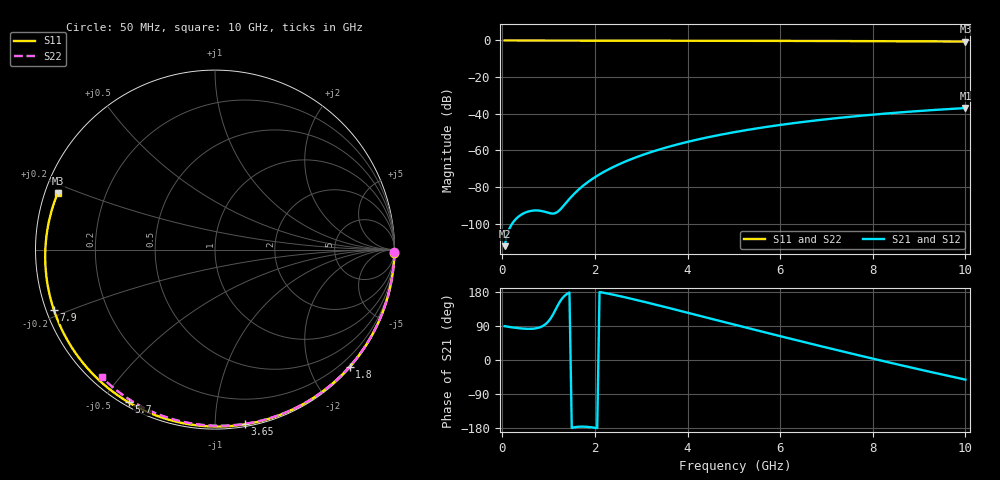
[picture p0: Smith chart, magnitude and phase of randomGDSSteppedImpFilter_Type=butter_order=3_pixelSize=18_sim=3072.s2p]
! freq	dB(S11)	phase(S11)	dB(S12)	phase(S12)
!  dB(S21)	phase(S21)	dB(S22)	phase(S22)
!S-par simulation data
#  GHz  S  DB  R 50
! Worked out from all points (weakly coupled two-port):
!   200 points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, 50 MHz to 10 GHz, reference 50 ohm
!   highest |S21| = -36.90 dB at 10 GHz (marker M1); lowest = -112.3 dB at 50 MHz (marker M2)
!   lowest |S11| = -0.6 dB at 10 GHz (marker M3), VSWR 28.10, Z = 1.83 + j8.63 ohm
!   |S11| at or under -10 dB: nowhere
!   |S22| runs from -0.4 to 0.0 dB; largest |S21 - S12| = 0
!   S11 on the Smith chart (normalised r, x): 50 MHz: 0, -98; 1.8 GHz: 0.02, -2.67; 3.65 GHz: 0.01, -1.19; 5.7 GHz: 0.02, -0.58; 7.9 GHz: 0.02, -0.18; 10 GHz: 0.04, +0.17
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0.05  -0.00 -1.2  -112.29 89.3  -112.29 89.3  -0.00 -0.8
0.45  -0.01 -10.4  -94.50 82.9  -94.50 82.9  -0.01 -6.8
0.85  -0.02 -19.6  -93.11 88.2  -93.11 88.2  -0.02 -12.8
1.25  -0.04 -28.8  -92.33 155.1  -92.33 155.1  -0.02 -18.8
1.7  -0.05 -38.8  -80.25 -175.8  -80.25 -175.8  -0.03 -25.5
1.75  -0.05 -40.0  -79.20 -175.9  -79.20 -175.9  -0.03 -26.2
1.8  -0.05 -41.1  -78.20 -176.1  -78.20 -176.1  -0.03 -27.0
2.1  -0.06 -47.7  -73.09 179.3  -73.09 179.3  -0.04 -31.4
2.5  -0.07 -56.3  -67.83 169.6  -67.83 169.6  -0.05 -37.2
2.9  -0.08 -64.8  -63.67 158.3  -63.67 158.3  -0.06 -42.9
3.4  -0.10 -75.1  -59.45 143.3  -59.45 143.3  -0.07 -49.9
3.65  -0.11 -80.2  -57.63 135.6  -57.63 135.6  -0.07 -53.4
4.35  -0.13 -94.0  -53.33 113.9  -53.33 113.9  -0.09 -63.0
5.05  -0.16 -107.4  -49.88 92.1  -49.88 92.1  -0.11 -72.3
5.7  -0.20 -119.5  -47.21 72.1  -47.21 72.1  -0.13 -80.7
6.7  -0.26 -137.7  -43.86 41.8  -43.86 41.8  -0.18 -93.1
7.3  -0.31 -148.5  -42.19 24.0  -42.19 24.0  -0.21 -100.4
7.9  -0.37 -159.4  -40.73 6.5  -40.73 6.5  -0.25 -107.5
8.35  -0.41 -167.6  -39.75 -6.4  -39.75 -6.4  -0.29 -112.7
8.8  -0.46 -176.0  -38.87 -19.1  -38.87 -19.1  -0.32 -117.9
9.2  -0.51 176.3  -38.15 -30.2  -38.15 -30.2  -0.36 -122.5
10  -0.62 160.4  -36.90 -51.8  -36.90 -51.8  -0.44 -131.5
